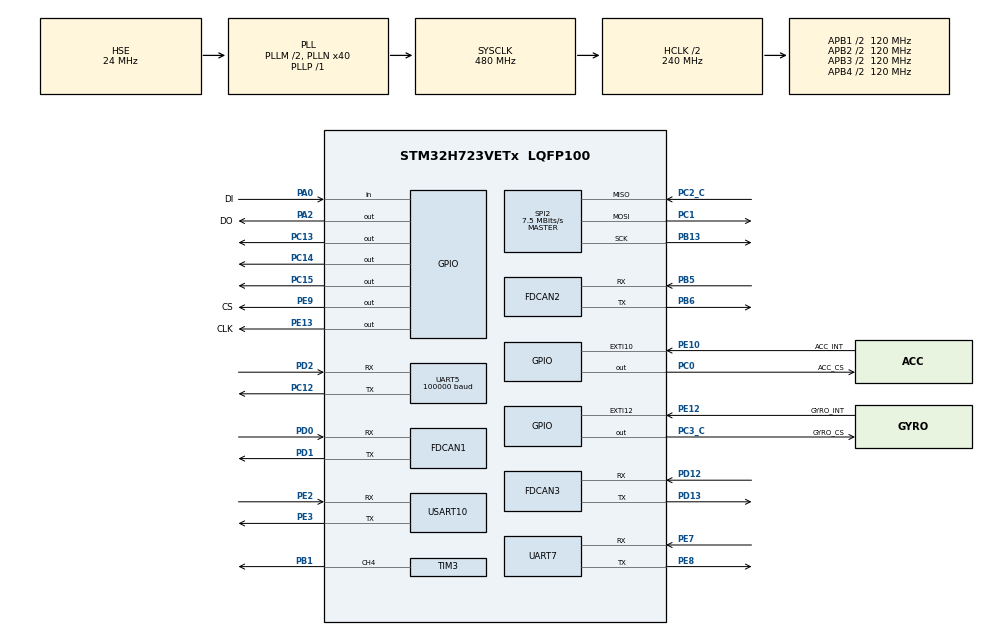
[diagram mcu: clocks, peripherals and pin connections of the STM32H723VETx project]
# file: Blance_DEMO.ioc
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Dma.Request0=SPI2_RX
Dma.Request1=SPI2_TX
Dma.Request2=USART10_RX
Dma.Request3=USART10_TX
Dma.SPI2_RX.0.Direction=DMA_PERIPH_TO_MEMORY
Dma.SPI2_RX.0.EventEnable=DISABLE
Dma.SPI2_RX.0.FIFOMode=DMA_FIFOMODE_DISABLE
Dma.SPI2_RX.0.Instance=DMA1_Stream0
Dma.SPI2_RX.0.MemDataAlignment=DMA_MDATAALIGN_BYTE
Dma.SPI2_RX.0.MemInc=DMA_MINC_ENABLE
Dma.SPI2_RX.0.Mode=DMA_NORMAL
Dma.SPI2_RX.0.PeriphDataAlignment=DMA_PDATAALIGN_BYTE
Dma.SPI2_RX.0.PeriphInc=DMA_PINC_DISABLE
Dma.SPI2_RX.0.Polarity=HAL_DMAMUX_REQ_GEN_RISING
Dma.SPI2_RX.0.Priority=DMA_PRIORITY_LOW
Dma.SPI2_RX.0.RequestNumber=1
Dma.SPI2_RX.0.SignalID=NONE
Dma.SPI2_RX.0.SyncEnable=DISABLE
Dma.SPI2_RX.0.SyncPolarity=HAL_DMAMUX_SYNC_NO_EVENT
Dma.SPI2_RX.0.SyncRequestNumber=1
Dma.SPI2_RX.0.SyncSignalID=NONE
Dma.SPI2_TX.1.Direction=DMA_MEMORY_TO_PERIPH
Dma.SPI2_TX.1.EventEnable=DISABLE
Dma.SPI2_TX.1.FIFOMode=DMA_FIFOMODE_DISABLE
Dma.SPI2_TX.1.Instance=DMA1_Stream1
Dma.SPI2_TX.1.MemDataAlignment=DMA_MDATAALIGN_BYTE
Dma.SPI2_TX.1.MemInc=DMA_MINC_ENABLE
Dma.SPI2_TX.1.Mode=DMA_NORMAL
Dma.SPI2_TX.1.PeriphDataAlignment=DMA_PDATAALIGN_BYTE
Dma.SPI2_TX.1.PeriphInc=DMA_PINC_DISABLE
Dma.SPI2_TX.1.Polarity=HAL_DMAMUX_REQ_GEN_RISING
Dma.SPI2_TX.1.Priority=DMA_PRIORITY_LOW
Dma.SPI2_TX.1.RequestNumber=1
Dma.SPI2_TX.1.SignalID=NONE
Dma.SPI2_TX.1.SyncEnable=DISABLE
Dma.SPI2_TX.1.SyncPolarity=HAL_DMAMUX_SYNC_NO_EVENT
Dma.SPI2_TX.1.SyncRequestNumber=1
Dma.SPI2_TX.1.SyncSignalID=NONE
Dma.USART10_RX.2.Direction=DMA_PERIPH_TO_MEMORY
Dma.USART10_RX.2.EventEnable=DISABLE
Dma.USART10_RX.2.FIFOMode=DMA_FIFOMODE_DISABLE
Dma.USART10_RX.2.Instance=DMA1_Stream2
Dma.USART10_RX.2.MemDataAlignment=DMA_MDATAALIGN_BYTE
Dma.USART10_RX.2.MemInc=DMA_MINC_ENABLE
Dma.USART10_RX.2.Mode=DMA_NORMAL
Dma.USART10_RX.2.PeriphDataAlignment=DMA_PDATAALIGN_BYTE
Dma.USART10_RX.2.PeriphInc=DMA_PINC_DISABLE
Dma.USART10_RX.2.Polarity=HAL_DMAMUX_REQ_GEN_RISING
Dma.USART10_RX.2.Priority=DMA_PRIORITY_LOW
Dma.USART10_RX.2.RequestNumber=1
Dma.USART10_RX.2.SignalID=NONE
Dma.USART10_RX.2.SyncEnable=DISABLE
Dma.USART10_RX.2.SyncPolarity=HAL_DMAMUX_SYNC_NO_EVENT
Dma.USART10_RX.2.SyncRequestNumber=1
Dma.USART10_RX.2.SyncSignalID=NONE
Dma.USART10_TX.3.Direction=DMA_MEMORY_TO_PERIPH
Dma.USART10_TX.3.EventEnable=DISABLE
Dma.USART10_TX.3.FIFOMode=DMA_FIFOMODE_DISABLE
Dma.USART10_TX.3.Instance=DMA1_Stream3
Dma.USART10_TX.3.MemDataAlignment=DMA_MDATAALIGN_BYTE
Dma.USART10_TX.3.MemInc=DMA_MINC_ENABLE
Dma.USART10_TX.3.Mode=DMA_NORMAL
Dma.USART10_TX.3.PeriphDataAlignment=DMA_PDATAALIGN_BYTE
Dma.USART10_TX.3.PeriphInc=DMA_PINC_DISABLE
Dma.USART10_TX.3.Polarity=HAL_DMAMUX_REQ_GEN_RISING
Dma.USART10_TX.3.Priority=DMA_PRIORITY_LOW
Dma.USART10_TX.3.RequestNumber=1
Dma.USART10_TX.3.SignalID=NONE
Dma.USART10_TX.3.SyncEnable=DISABLE
Dma.USART10_TX.3.SyncPolarity=HAL_DMAMUX_SYNC_NO_EVENT
Dma.USART10_TX.3.SyncRequestNumber=1
Dma.USART10_TX.3.SyncSignalID=NONE
FDCAN1.CalculateBaudRateNominal=1000000
FDCAN1.CalculateTimeBitNominal=1000
FDCAN1.CalculateTimeQuantumNominal=40.0
FDCAN1.DataPrescaler=4
FDCAN1.DataTimeSeg1=19
FDCAN1.DataTimeSeg2=5
FDCAN1.ExtFiltersNbr=5
FDCAN1.NominalPrescaler=4
FDCAN1.NominalTimeSeg1=19
FDCAN1.NominalTimeSeg2=5
FDCAN1.RxFifo0ElmtSize=FDCAN_DATA_BYTES_24
FDCAN1.RxFifo0ElmtsNbr=4
FDCAN1.RxFifo1ElmtSize=FDCAN_DATA_BYTES_24
FDCAN1.StdFiltersNbr=5
FDCAN1.TxElmtSize=FDCAN_DATA_BYTES_24
FDCAN1.TxFifoQueueElmtsNbr=8
FDCAN2.CalculateBaudRateNominal=1000000
FDCAN2.CalculateTimeBitNominal=1000
FDCAN2.CalculateTimeQuantumNominal=50.0
FDCAN2.DataPrescaler=5
FDCAN2.DataTimeSeg1=14
FDCAN2.DataTimeSeg2=5
FDCAN2.ExtFiltersNbr=5
FDCAN2.MessageRAMOffset=854
FDCAN2.NominalPrescaler=5
FDCAN2.NominalTimeSeg1=14
FDCAN2.NominalTimeSeg2=5
FDCAN2.RxFifo0ElmtSize=FDCAN_DATA_BYTES_8
FDCAN2.RxFifo0ElmtsNbr=0
FDCAN2.RxFifo1ElmtSize=FDCAN_DATA_BYTES_24
FDCAN2.RxFifo1ElmtsNbr=4
FDCAN2.StdFiltersNbr=5
FDCAN2.TxElmtSize=FDCAN_DATA_BYTES_16
FDCAN2.TxFifoQueueElmtsNbr=4
FDCAN3.CalculateBaudRateNominal=500000
FDCAN3.CalculateTimeBitNominal=2000
FDCAN3.CalculateTimeQuantumNominal=80.0
FDCAN3.DataPrescaler=5
FDCAN3.DataTimeSeg1=14
FDCAN3.DataTimeSeg2=5
FDCAN3.ExtFiltersNbr=5
FDCAN3.MessageRAMOffset=854
FDCAN3.NominalPrescaler=8
FDCAN3.NominalTimeSeg1=19
FDCAN3.NominalTimeSeg2=5
FDCAN3.RxFifo0ElmtsNbr=2
FDCAN3.RxFifo1ElmtSize=FDCAN_DATA_BYTES_24
FDCAN3.RxFifo1ElmtsNbr=4
FDCAN3.StdFiltersNbr=5
FDCAN3.TxElmtSize=FDCAN_DATA_BYTES_16
FDCAN3.TxFifoQueueElmtsNbr=4
FREERTOS.Tasks01=defaultTask,0,128,StartDefaultTask,Default,NULL,Dynamic,NULL,NULL;INS_TASK,-3,512,INS_Task,Default,NULL,Dynamic,NULL,NULL;CHASSIS_L_TASK,-3,512,Chassis_L_Task,Default,NULL,Dynamic,NULL,NULL;CHASSIS_R_TASK,-3,512,Chassis_R_TASK,Default,NULL,Dynamic,NULL,NULL;OBSERVE_TASK,-3,512,OBSERVE_Task,Default,NULL,Dynamic,NULL,NULL;DBUS_TASK,-3,128,DBUS_Task,Default,NULL,Dynamic,NULL,NULL
FREERTOS.configENABLE_FPU=1
FREERTOS.configTOTAL_HEAP_SIZE=15360
Mcu.Family=STM32H7
Mcu.Name=STM32H723VETx
Mcu.Package=LQFP100
NVIC.DMA1_Stream0_IRQn=true\:5\:0\:false\:false\:true\:true\:false\:true\:true
NVIC.DMA1_Stream1_IRQn=true\:5\:0\:false\:false\:true\:true\:false\:true\:true
NVIC.DMA1_Stream2_IRQn=true\:5\:0\:false\:false\:true\:true\:false\:true\:true
NVIC.DMA1_Stream3_IRQn=true\:5\:0\:false\:false\:true\:true\:false\:true\:true
NVIC.FDCAN1_IT0_IRQn=true\:5\:0\:false\:false\:true\:true\:true\:true\:true
NVIC.FDCAN2_IT0_IRQn=true\:5\:0\:false\:false\:true\:true\:true\:true\:true
NVIC.FDCAN3_IT0_IRQn=true\:5\:0\:false\:false\:true\:true\:true\:true\:true
NVIC.PriorityGroup=NVIC_PRIORITYGROUP_4
NVIC.SPI2_IRQn=true\:5\:0\:false\:false\:true\:true\:false\:true\:true
NVIC.TIM1_UP_IRQn=true\:15\:0\:false\:false\:true\:false\:false\:true\:true
NVIC.TIM6_DAC_IRQn=true\:5\:0\:false\:false\:true\:true\:true\:true\:true
NVIC.TIM8_BRK_TIM12_IRQn=true\:5\:0\:false\:false\:true\:true\:true\:true\:true
NVIC.TimeBase=TIM1_UP_IRQn
NVIC.TimeBaseIP=TIM1
NVIC.UART5_IRQn=true\:5\:0\:false\:false\:true\:true\:true\:true\:true
NVIC.UART7_IRQn=true\:5\:0\:false\:false\:true\:true\:true\:true\:true
NVIC.USART10_IRQn=true\:5\:0\:false\:false\:true\:true\:true\:true\:true
PA0.GPIO_Label=DI
PA0.GPIO_PuPd=GPIO_PULLUP
PA0.Signal=GPIO_Input
PA13(JTMS/SWDIO).Mode=Serial_Wire
PA13(JTMS/SWDIO).Signal=DEBUG_JTMS-SWDIO
PA14(JTCK/SWCLK).Mode=Serial_Wire
PA14(JTCK/SWCLK).Signal=DEBUG_JTCK-SWCLK
PA2.GPIO_Label=DO
PA2.GPIO_PuPd=GPIO_PULLUP
PA2.GPIO_Speed=GPIO_SPEED_FREQ_VERY_HIGH
PA2.Signal=GPIO_Output
PB1.Signal=S_TIM3_CH4
PB13.GPIO_Speed=GPIO_SPEED_FREQ_VERY_HIGH
PB13.Mode=Full_Duplex_Master
PB13.Signal=SPI2_SCK
PB5.Mode=FDCAN_Activate
PB5.Signal=FDCAN2_RX
PB6.Mode=FDCAN_Activate
PB6.Signal=FDCAN2_TX
PC0.GPIO_Label=ACC_CS
PC0.GPIO_Speed=GPIO_SPEED_FREQ_VERY_HIGH
PC0.PinState=GPIO_PIN_SET
PC0.Signal=GPIO_Output
PC1.GPIO_Speed=GPIO_SPEED_FREQ_VERY_HIGH
PC1.Mode=Full_Duplex_Master
PC1.Signal=SPI2_MOSI
PC12.Mode=Asynchronous
PC12.Signal=UART5_TX
PC13.Signal=GPIO_Output
PC14-OSC32_IN.Signal=GPIO_Output
PC15-OSC32_OUT.PinState=GPIO_PIN_SET
PC15-OSC32_OUT.Signal=GPIO_Output
PC2_C.GPIO_Speed=GPIO_SPEED_FREQ_VERY_HIGH
PC2_C.Mode=Full_Duplex_Master
PC2_C.Signal=SPI2_MISO
PC3_C.GPIO_Label=GYRO_CS
PC3_C.GPIO_Speed=GPIO_SPEED_FREQ_VERY_HIGH
PC3_C.PinState=GPIO_PIN_SET
PC3_C.Signal=GPIO_Output
PD0.Mode=FDCAN_Activate
PD0.Signal=FDCAN1_RX
PD1.Mode=FDCAN_Activate
PD1.Signal=FDCAN1_TX
PD12.Mode=FDCAN_Activate
PD12.Signal=FDCAN3_RX
PD13.Mode=FDCAN_Activate
PD13.Signal=FDCAN3_TX
PD2.Mode=Asynchronous
PD2.Signal=UART5_RX
PE10.GPIO_Label=ACC_INT
PE10.Signal=GPXTI10
PE12.GPIO_Label=GYRO_INT
PE12.Signal=GPXTI12
PE13.GPIO_Label=CLK
PE13.GPIO_PuPd=GPIO_PULLUP
PE13.GPIO_Speed=GPIO_SPEED_FREQ_VERY_HIGH
PE13.PinState=GPIO_PIN_SET
PE13.Signal=GPIO_Output
PE2.Mode=Asynchronous
PE2.Signal=USART10_RX
PE3.Mode=Asynchronous
PE3.Signal=USART10_TX
PE7.Mode=Asynchronous
PE7.Signal=UART7_RX
PE8.Mode=Asynchronous
PE8.Signal=UART7_TX
PE9.GPIO_Label=CS
PE9.GPIO_PuPd=GPIO_PULLUP
PE9.GPIO_Speed=GPIO_SPEED_FREQ_VERY_HIGH
PE9.PinState=GPIO_PIN_SET
PE9.Signal=GPIO_Output
PH0-OSC_IN.Mode=HSE-External-Oscillator
PH0-OSC_IN.Signal=RCC_OSC_IN
PH1-OSC_OUT.Mode=HSE-External-Oscillator
PH1-OSC_OUT.Signal=RCC_OSC_OUT
ProjectManager.HeapSize=0x200
ProjectManager.StackSize=0x400
ProjectManager.TargetToolchain=MDK-ARM V5.27
RCC.ADCFreq_Value=100000000
RCC.APB1Freq_Value=120000000
RCC.APB2Freq_Value=120000000
RCC.APB3Freq_Value=120000000
RCC.APB4Freq_Value=120000000
RCC.CortexFreq_Value=480000000
RCC.D1PPRE=RCC_APB3_DIV2
RCC.D2PPRE1=RCC_APB1_DIV2
RCC.D2PPRE2=RCC_APB2_DIV2
RCC.D3PPRE=RCC_APB4_DIV2
RCC.DIVM1=2
RCC.DIVM2=24
RCC.DIVN1=40
RCC.DIVN2=200
RCC.DIVP1=1
RCC.FDCANCLockSelection=RCC_FDCANCLKSOURCE_PLL2
RCC.HCLKFreq_Value=240000000
RCC.HPRE=RCC_HCLK_DIV2
RCC.HSE_VALUE=24000000
RCC.PLL2FRACN=0
RCC.PLL3FRACN=0
RCC.PLLFRACN=0
RCC.PLLSourceVirtual=RCC_PLLSOURCE_HSE
RCC.SYSCLKFreq_VALUE=480000000
RCC.SYSCLKSource=RCC_SYSCLKSOURCE_PLLCLK
RCC.USBFreq_Value=240000000
SH.S_TIM3_CH4.0=TIM3_CH4,PWM Generation4 CH4
SPI2.BaudRatePrescaler=SPI_BAUDRATEPRESCALER_32
SPI2.CLKPhase=SPI_PHASE_2EDGE
SPI2.CLKPolarity=SPI_POLARITY_HIGH
SPI2.CalculateBaudRate=7.5 MBits/s
SPI2.DataSize=SPI_DATASIZE_8BIT
SPI2.Direction=SPI_DIRECTION_2LINES
SPI2.Mode=SPI_MODE_MASTER
SPI2.VirtualType=VM_MASTER
TIM12.AutoReloadPreload=TIM_AUTORELOAD_PRELOAD_ENABLE
TIM12.Period=1000-1
TIM12.Prescaler=240-1
TIM3.AutoReloadPreload=TIM_AUTORELOAD_PRELOAD_ENABLE
TIM3.Channel-PWM\ Generation4\ CH4=TIM_CHANNEL_4
TIM3.Period=10000-1
TIM3.Prescaler=24-1
TIM6.AutoReloadPreload=TIM_AUTORELOAD_PRELOAD_ENABLE
TIM6.Period=4000-1
TIM6.Prescaler=240-1
UART5.BaudRate=100000
UART5.Parity=PARITY_EVEN
UART5.WordLength=WORDLENGTH_9B
USART10.VirtualMode=VM_ASYNC
VP_FREERTOS_VS_CMSIS_V1.Mode=CMSIS_V1
VP_SYS_VS_tim1.Mode=TIM1
VP_TIM12_VS_ClockSourceINT.Mode=Internal
VP_TIM6_VS_ClockSourceINT.Mode=Enable_Timer
board=custom

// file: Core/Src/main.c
/* USER CODE BEGIN Header */
/**
  ******************************************************************************
  * @file           : main.c
  * @brief          : Main program body
  ******************************************************************************
  * @attention
  *
  * Copyright (c) 2024 STMicroelectronics.
  * All rights reserved.
  *
  * This software is licensed under terms that can be found in the LICENSE file
  * in the root directory of this software component.
  * If no LICENSE file comes with this software, it is provided AS-IS.
  *
  ******************************************************************************
  */
/* USER CODE END Header */
#include "main.h"
#include "cmsis_os.h"
#include "dma.h"
#include "fdcan.h"
#include "spi.h"
#include "tim.h"
#include "usart.h"
#include "gpio.h"

/* USER CODE BEGIN Includes */
#include "BMI088driver.h"
#include "kalman_filter.h"
#include "mahony_filter.h"
#include "bsp_dwt.h"
#include "BMI088Middleware.h"
#include "can_bsp.h"
#include "Total_stack.h"
//#include "Total_stack.h"
/* USER CODE END Includes */

void SystemClock_Config(void);
void PeriphCommonClock_Config(void);
void MX_FREERTOS_Init(void);

int main(void)
{

  /* MCU Configuration--------------------------------------------------------*/

  /* Reset of all peripherals, Initializes the Flash interface and the Systick. */
  HAL_Init();

  /* Configure the system clock */
  SystemClock_Config();

  /* Configure the peripherals common clocks */
  PeriphCommonClock_Config();

  /* Initialize all configured peripherals */
  MX_GPIO_Init();
  MX_DMA_Init();
  MX_FDCAN2_Init();
  MX_FDCAN3_Init();
  MX_SPI2_Init();
  MX_FDCAN1_Init();
  MX_USART10_UART_Init();
  MX_TIM3_Init();
  MX_UART5_Init();
  MX_UART7_Init();
  MX_TIM6_Init();
  MX_TIM12_Init();
  /* USER CODE BEGIN 2 */
	Total_tasks_Init();
	HAL_TIM_Base_Start_IT(&htim6);//控制器定时
	HAL_TIM_Base_Start_IT(&htim12);//发送

	DWT_Init(480);

    /* BMI088初始化 *///之前已经对角速度和加速度的零飘校准过了，所以之后上电就不需要校准。如果硬件设备更换，则需要重新校准下
  while (BMI088_init(&hspi2, 0) != BMI088_NO_ERROR)
	{
	  ;
	}
	Power_OUT1_ON;//imu初始化完成，可控电源打开，led灯亮
	Power_OUT2_ON;
  /* USER CODE END 2 */

  /* Call init function for freertos objects (in cmsis_os2.c) */
  MX_FREERTOS_Init();

  /* Start scheduler */
  osKernelStart();

  /* We should never get here as control is now taken by the scheduler */

  /* Infinite loop */
  while (1)
  {

  }
}

void SystemClock_Config(void)
{
  RCC_OscInitTypeDef RCC_OscInitStruct = {0};
  RCC_ClkInitTypeDef RCC_ClkInitStruct = {0};

  /** Supply configuration update enable
  */
  HAL_PWREx_ConfigSupply(PWR_LDO_SUPPLY);

  /** Configure the main internal regulator output voltage
  */
  __HAL_PWR_VOLTAGESCALING_CONFIG(PWR_REGULATOR_VOLTAGE_SCALE0);

  while(!__HAL_PWR_GET_FLAG(PWR_FLAG_VOSRDY)) {}

  /** Initializes the RCC Oscillators according to the specified parameters
  * in the RCC_OscInitTypeDef structure.
  */
  RCC_OscInitStruct.OscillatorType = RCC_OSCILLATORTYPE_HSE;
  RCC_OscInitStruct.HSEState = RCC_HSE_ON;
  RCC_OscInitStruct.PLL.PLLState = RCC_PLL_ON;
  RCC_OscInitStruct.PLL.PLLSource = RCC_PLLSOURCE_HSE;
  RCC_OscInitStruct.PLL.PLLM = 2;
  RCC_OscInitStruct.PLL.PLLN = 40;
  RCC_OscInitStruct.PLL.PLLP = 1;
  RCC_OscInitStruct.PLL.PLLQ = 2;
  RCC_OscInitStruct.PLL.PLLR = 2;
  RCC_OscInitStruct.PLL.PLLRGE = RCC_PLL1VCIRANGE_3;
  RCC_OscInitStruct.PLL.PLLVCOSEL = RCC_PLL1VCOWIDE;
  RCC_OscInitStruct.PLL.PLLFRACN = 0;
  if (HAL_RCC_OscConfig(&RCC_OscInitStruct) != HAL_OK)
  {
    Error_Handler();
  }

  /** Initializes the CPU, AHB and APB buses clocks
  */
  RCC_ClkInitStruct.ClockType = RCC_CLOCKTYPE_HCLK|RCC_CLOCKTYPE_SYSCLK
                              |RCC_CLOCKTYPE_PCLK1|RCC_CLOCKTYPE_PCLK2
                              |RCC_CLOCKTYPE_D3PCLK1|RCC_CLOCKTYPE_D1PCLK1;
  RCC_ClkInitStruct.SYSCLKSource = RCC_SYSCLKSOURCE_PLLCLK;
  RCC_ClkInitStruct.SYSCLKDivider = RCC_SYSCLK_DIV1;
  RCC_ClkInitStruct.AHBCLKDivider = RCC_HCLK_DIV2;
  RCC_ClkInitStruct.APB3CLKDivider = RCC_APB3_DIV2;
  RCC_ClkInitStruct.APB1CLKDivider = RCC_APB1_DIV2;
  RCC_ClkInitStruct.APB2CLKDivider = RCC_APB2_DIV2;
  RCC_ClkInitStruct.APB4CLKDivider = RCC_APB4_DIV2;

  if (HAL_RCC_ClockConfig(&RCC_ClkInitStruct, FLASH_LATENCY_3) != HAL_OK)
  {
    Error_Handler();
  }
}

void PeriphCommonClock_Config(void)
{
  RCC_PeriphCLKInitTypeDef PeriphClkInitStruct = {0};

  /** Initializes the peripherals clock
  */
  PeriphClkInitStruct.PeriphClockSelection = RCC_PERIPHCLK_FDCAN;
  PeriphClkInitStruct.PLL2.PLL2M = 24;
  PeriphClkInitStruct.PLL2.PLL2N = 200;
  PeriphClkInitStruct.PLL2.PLL2P = 2;
  PeriphClkInitStruct.PLL2.PLL2Q = 2;
  PeriphClkInitStruct.PLL2.PLL2R = 2;
  PeriphClkInitStruct.PLL2.PLL2RGE = RCC_PLL2VCIRANGE_0;
  PeriphClkInitStruct.PLL2.PLL2VCOSEL = RCC_PLL2VCOMEDIUM;
  PeriphClkInitStruct.PLL2.PLL2FRACN = 0;
  PeriphClkInitStruct.FdcanClockSelection = RCC_FDCANCLKSOURCE_PLL2;
  if (HAL_RCCEx_PeriphCLKConfig(&PeriphClkInitStruct) != HAL_OK)
  {
    Error_Handler();
  }
}

void HAL_TIM_PeriodElapsedCallback(TIM_HandleTypeDef *htim)
{
  if (htim->Instance == TIM1) {
    HAL_IncTick();
  }
  /* USER CODE BEGIN Callback 1 */
  if (htim->Instance == TIM6) {
//		Chassis_Task();
	}
  if (htim->Instance == TIM12) {
//		DM_Send_Task();
  }
  /* USER CODE END Callback 1 */
}

void Error_Handler(void)
{
  __disable_irq();
  while (1)
  {
  }
}

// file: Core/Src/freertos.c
/* USER CODE BEGIN Header */
/**
  ******************************************************************************
  * File Name          : freertos.c
  * Description        : Code for freertos applications
  ******************************************************************************
  * @attention
  *
  * Copyright (c) 2024 STMicroelectronics.
  * All rights reserved.
  *
  * This software is licensed under terms that can be found in the LICENSE file
  * in the root directory of this software component.
  * If no LICENSE file comes with this software, it is provided AS-IS.
  *
  ******************************************************************************
  */
/* USER CODE END Header */

#include "FreeRTOS.h"
#include "task.h"
#include "main.h"
#include "cmsis_os.h"

/* USER CODE BEGIN Includes */
#include "INS_task.h"
//#include "Extern_C.h"
/* USER CODE END Includes */

osThreadId defaultTaskHandle;
osThreadId INS_TASKHandle;
osThreadId CHASSIS_L_TASKHandle;
osThreadId CHASSIS_R_TASKHandle;
osThreadId OBSERVE_TASKHandle;
osThreadId DBUS_TASKHandle;

/* USER CODE BEGIN FunctionPrototypes */
extern void Chassis_Task();
/* USER CODE END FunctionPrototypes */

void StartDefaultTask(void const * argument);
void INS_Task(void const * argument);
void Chassis_L_Task(void const * argument);
void Chassis_R_TASK(void const * argument);
void OBSERVE_Task(void const * argument);
void DBUS_Task(void const * argument);

void MX_FREERTOS_Init(void); /* (MISRA C 2004 rule 8.1) */

/* GetIdleTaskMemory prototype (linked to static allocation support) */
void vApplicationGetIdleTaskMemory( StaticTask_t **ppxIdleTaskTCBBuffer, StackType_t **ppxIdleTaskStackBuffer, uint32_t *pulIdleTaskStackSize );

/* USER CODE BEGIN GET_IDLE_TASK_MEMORY */
static StaticTask_t xIdleTaskTCBBuffer;
static StackType_t xIdleStack[configMINIMAL_STACK_SIZE];

void vApplicationGetIdleTaskMemory( StaticTask_t **ppxIdleTaskTCBBuffer, StackType_t **ppxIdleTaskStackBuffer, uint32_t *pulIdleTaskStackSize )
{
  *ppxIdleTaskTCBBuffer = &xIdleTaskTCBBuffer;
  *ppxIdleTaskStackBuffer = &xIdleStack[0];
  *pulIdleTaskStackSize = configMINIMAL_STACK_SIZE;
  /* place for user code */
}
/* USER CODE END GET_IDLE_TASK_MEMORY */

void MX_FREERTOS_Init(void) {

  /* Create the thread(s) */
  /* definition and creation of defaultTask */
  osThreadDef(defaultTask, StartDefaultTask, osPriorityNormal, 0, 128);
  defaultTaskHandle = osThreadCreate(osThread(defaultTask), NULL);

  /* definition and creation of INS_TASK */
  osThreadDef(INS_TASK, INS_Task, osPriorityIdle, 0, 512);
  INS_TASKHandle = osThreadCreate(osThread(INS_TASK), NULL);

  /* definition and creation of CHASSIS_L_TASK */
  osThreadDef(CHASSIS_L_TASK, Chassis_L_Task, osPriorityIdle, 0, 512);
  CHASSIS_L_TASKHandle = osThreadCreate(osThread(CHASSIS_L_TASK), NULL);

  /* definition and creation of CHASSIS_R_TASK */
  osThreadDef(CHASSIS_R_TASK, Chassis_R_TASK, osPriorityIdle, 0, 512);
  CHASSIS_R_TASKHandle = osThreadCreate(osThread(CHASSIS_R_TASK), NULL);

  /* definition and creation of OBSERVE_TASK */
  osThreadDef(OBSERVE_TASK, OBSERVE_Task, osPriorityIdle, 0, 512);
  OBSERVE_TASKHandle = osThreadCreate(osThread(OBSERVE_TASK), NULL);

  /* definition and creation of DBUS_TASK */
  osThreadDef(DBUS_TASK, DBUS_Task, osPriorityIdle, 0, 128);
  DBUS_TASKHandle = osThreadCreate(osThread(DBUS_TASK), NULL);

}

void StartDefaultTask(void const * argument)
{
  for(;;)
  {
    osDelay(1);
  }
}

void INS_Task(void const * argument)
{
  /* USER CODE BEGIN INS_Task */
  /* Infinite loop */
  for(;;)
  {
    INS_task();
  }
  /* USER CODE END INS_Task */
}

void Chassis_L_Task(void const * argument)
{
  /* USER CODE BEGIN Chassis_L_Task */
  /* Infinite loop */
  for(;;)
  {
		Chassis_Task_L();
  }
  /* USER CODE END Chassis_L_Task */
}

void Chassis_R_TASK(void const * argument)
{
  /* USER CODE BEGIN Chassis_R_TASK */
  /* Infinite loop */
  for(;;)
  {
		Chassis_Task_R();
  }
  /* USER CODE END Chassis_R_TASK */
}

void OBSERVE_Task(void const * argument)
{
  /* USER CODE BEGIN OBSERVE_Task */
  /* Infinite loop */
  for(;;)
  {
		Kalman_task();
	}
  /* USER CODE END OBSERVE_Task */
}

void DBUS_Task(void const * argument)
{
  for(;;)
  {
    osDelay(1);
  }
}
